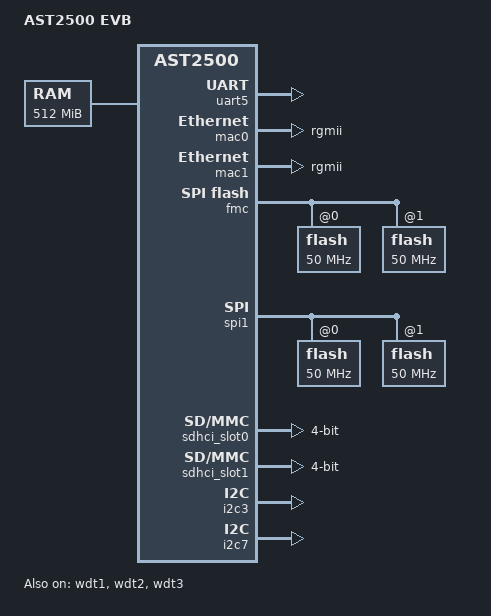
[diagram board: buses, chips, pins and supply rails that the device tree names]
/dts-v1/;

#include "ast2500-u-boot.dtsi"

/ {
	model = "AST2500 EVB";
	compatible = "aspeed,ast2500-evb", "aspeed,ast2500";

	memory {
		device_type = "memory";
		reg = <0x80000000 0x20000000>;
	};

	chosen {
		stdout-path = &uart5;
	};

	aliases {
		spi0 = &fmc;
		spi1 = &spi1;
		ethernet0 = &mac0;
		ethernet1 = &mac1;
	};

	/*
	 * reserved-memory layout
	 * 0x8a00_0000 ~ 0x8a00_FFFF is reserved for mctp controller in linux side.
	 */
	 reserved-memory {
		mctp_reserved: mctp_reserved@8a000000 {
			reg = <0x8a000000 0x10000>;
			no-map;
		};
	};
};

&uart5 {
	u-boot,dm-pre-reloc;
	status = "okay";
};

&sdrammc {
	clock-frequency = <400000000>;
};

&wdt1 {
	u-boot,dm-pre-reloc;
	status = "okay";
};

&wdt2 {
	u-boot,dm-pre-reloc;
	status = "okay";
};

&wdt3 {
	u-boot,dm-pre-reloc;
	status = "okay";
};

&mac0 {
	status = "okay";
	phy-mode = "rgmii";

	pinctrl-names = "default";
	pinctrl-0 = <&pinctrl_mac1link_default &pinctrl_mdio1_default>;
};

&mac1 {
	status = "okay";
	phy-mode = "rgmii";
	pinctrl-names = "default";
	pinctrl-0 = <&pinctrl_mac2link_default &pinctrl_mdio2_default>;
};

&fmc {
	status = "okay";
	flash@0 {
		status = "okay";
		spi-max-frequency = <50000000>;
		spi-tx-bus-width = <2>;
		spi-rx-bus-width = <2>;
	};

	flash@1 {
                status = "okay";
                spi-max-frequency = <50000000>;
                spi-tx-bus-width = <2>;
                spi-rx-bus-width = <2>;
        };
};

&spi1 {
	status = "okay";
	flash@0 {
		pinctrl-names = "default";
		pinctrl-0 = <&pinctrl_spi1_default>;
		status = "okay";
		spi-max-frequency = <50000000>;
		spi-tx-bus-width = <2>;
		spi-rx-bus-width = <2>;
	};
	flash@1 {
		pinctrl-names = "default";
		pinctrl-0 = <&pinctrl_spi1_default &pinctrl_spi1cs1_default>;
		status = "okay";
		spi-max-frequency = <50000000>;
		spi-tx-bus-width = <2>;
		spi-rx-bus-width = <2>;
	};
};

&sdhci_slot0 {
	status = "okay";
	bus-width = <4>;
	pinctrl-names = "default";
	pinctrl-0 = <&pinctrl_sd1_default>;
};

&sdhci_slot1 {
	status = "okay";
	bus-width = <4>;
	pinctrl-names = "default";
	pinctrl-0 = <&pinctrl_sd2_default>;
};

&i2c3 {
        status = "okay";

};

&i2c7 {
        status = "okay";

};
